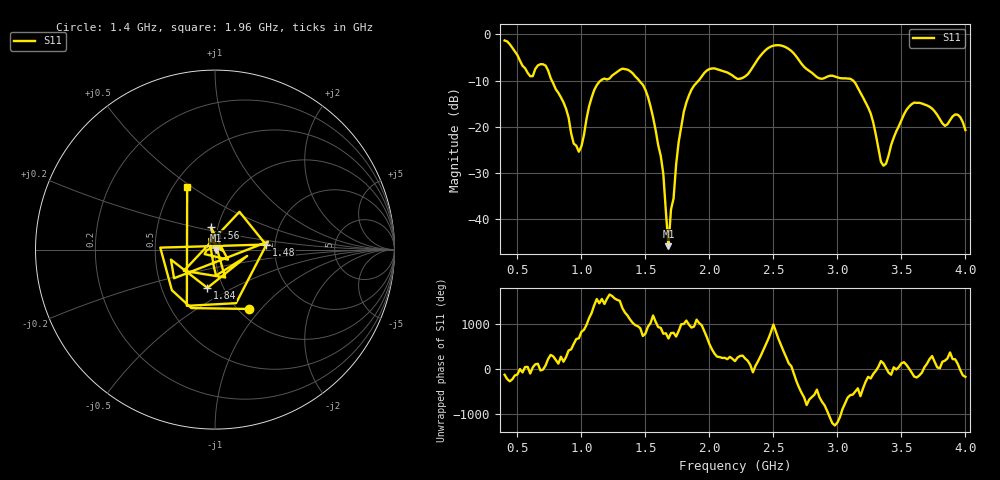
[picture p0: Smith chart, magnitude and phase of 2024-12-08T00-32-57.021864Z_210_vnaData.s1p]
!Created with skrf (http://scikit-rf.org).
# Hz S RI R 50.0
!freq ReS11 ImS11
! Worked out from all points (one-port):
!   181 points, 400 MHz to 4 GHz, reference 50 ohm
!   lowest |S11| = -46.0 dB at 1.68 GHz (marker M1), VSWR 1.01, Z = 50.3 - j0.386 ohm
!   |S11| at or under -10 dB: 769.1 MHz to 1.152 GHz (382.7 MHz wide, 39.8 % of centre); 1.451 GHz to 1.916 GHz (465.3 MHz wide, 27.6 % of centre); 3.122 GHz to end of sweep
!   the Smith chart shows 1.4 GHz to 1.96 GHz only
!   S11 on the Smith chart (normalised r, x): 1.4 GHz: 1.11, -0.86; 1.48 GHz: 1.79, +0.11; 1.56 GHz: 0.93, +0.23; 1.84 GHz: 0.84, -0.38; 1.96 GHz: 0.59, +0.48
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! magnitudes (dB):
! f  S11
! 400 MHz  -1.3
! 600 MHz  -9.1
! 720 MHz  -6.8
! 860 MHz  -14.7
! 980 MHz  -25.5
! 1.1 GHz  -12.1
! 1.3 GHz  -7.7
! 1.4 GHz  -8.4
! 1.48 GHz  -10.9
! 1.56 GHz  -18.0
! 1.64 GHz  -30.3
! 1.68 GHz  -46.0
! 1.7 GHz  -38.0
! 1.76 GHz  -23.3
! 1.84 GHz  -13.3
! 1.96 GHz  -8.4
! 2.2 GHz  -9.3
! 2.48 GHz  -2.6
! 2.66 GHz  -4.1
! 2.86 GHz  -9.5
! 3.1 GHz  -9.6
! 3.26 GHz  -17.2
! 3.36 GHz  -28.5
! 3.56 GHz  -15.7
! 3.72 GHz  -15.7
! 3.84 GHz  -19.8
! 3.94 GHz  -17.4
! 4 GHz  -20.7
